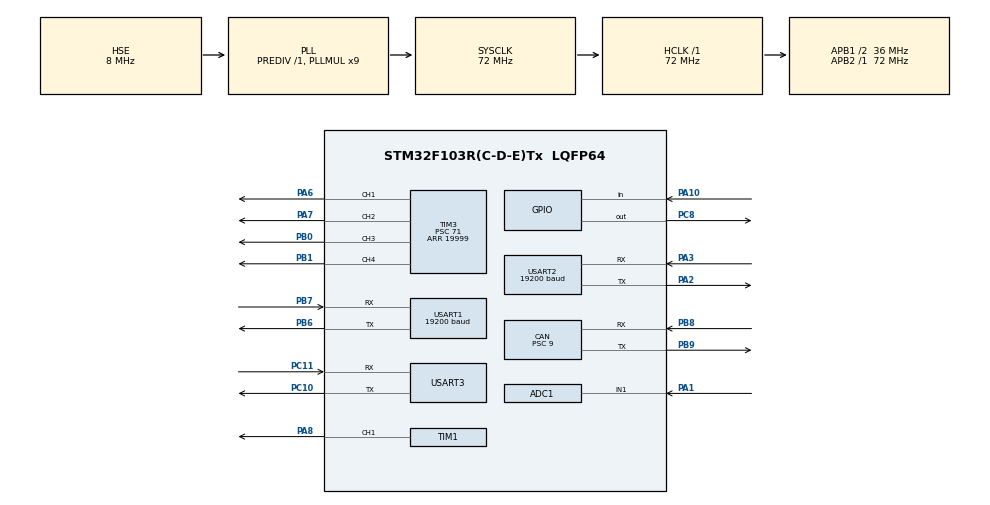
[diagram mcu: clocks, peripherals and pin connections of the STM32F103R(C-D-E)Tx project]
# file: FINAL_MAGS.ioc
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ADC1.Channel-0\#ChannelRegularConversion=ADC_CHANNEL_1
ADC1.ContinuousConvMode=DISABLE
ADC1.DataAlign=ADC_DATAALIGN_RIGHT
ADC1.DiscontinuousConvMode=DISABLE
ADC1.EnableAnalogWatchDog=false
ADC1.EnableRegularConversion=ENABLE
ADC1.ExternalTrigConv=ADC_SOFTWARE_START
ADC1.InjNumberOfConversion=0
ADC1.NbrOfConversion=1
ADC1.NbrOfConversionFlag=1
ADC1.Rank-0\#ChannelRegularConversion=1
ADC1.SamplingTime-0\#ChannelRegularConversion=ADC_SAMPLETIME_239CYCLES_5
ADC1.ScanConvMode=ADC_SCAN_DISABLE
ADC1.master=1
CAN.BS1=CAN_BS1_6TQ
CAN.CalculateTimeBit=750
CAN.CalculateTimeQuantum=250.0
CAN.Prescaler=9
Mcu.Family=STM32F1
Mcu.Name=STM32F103R(C-D-E)Tx
Mcu.Package=LQFP64
NVIC.PriorityGroup=NVIC_PRIORITYGROUP_4
NVIC.TIM7_IRQn=true\:0\:0\:false\:false\:true\:true
NVIC.USART1_IRQn=true\:0\:0\:false\:false\:true\:true
NVIC.USART2_IRQn=true\:0\:0\:false\:false\:true\:true
NVIC.USB_HP_CAN1_TX_IRQn=true\:0\:0\:false\:false\:true\:true
NVIC.USB_LP_CAN1_RX0_IRQn=true\:0\:0\:false\:false\:true\:true
PA1.Signal=ADCx_IN1
PA10.GPIO_PuPd=GPIO_PULLDOWN
PA10.Signal=GPIO_Input
PA2.Mode=Asynchronous
PA2.Signal=USART2_TX
PA3.Mode=Asynchronous
PA3.Signal=USART2_RX
PA6.Signal=S_TIM3_CH1
PA7.Signal=S_TIM3_CH2
PA8.Signal=S_TIM1_CH1
PB0.Signal=S_TIM3_CH3
PB1.Signal=S_TIM3_CH4
PB6.Mode=Asynchronous
PB6.Signal=USART1_TX
PB7.Mode=Asynchronous
PB7.Signal=USART1_RX
PB8.Mode=Master
PB8.Signal=CAN_RX
PB9.Mode=Master
PB9.Signal=CAN_TX
PC10.Mode=Asynchronous
PC10.Signal=USART3_TX
PC11.Mode=Asynchronous
PC11.Signal=USART3_RX
PC8.Signal=GPIO_Output
PD0-OSC_IN.Mode=HSE-External-Oscillator
PD0-OSC_IN.Signal=RCC_OSC_IN
PD1-OSC_OUT.Mode=HSE-External-Oscillator
PD1-OSC_OUT.Signal=RCC_OSC_OUT
ProjectManager.HeapSize=0x200
ProjectManager.StackSize=0x400
ProjectManager.TargetToolchain=EWARM
RCC.ADCPresc=RCC_ADCPCLK2_DIV6
RCC.AHBFreq_Value=72000000
RCC.APB1CLKDivider=RCC_HCLK_DIV2
RCC.APB1Freq_Value=36000000
RCC.APB1TimFreq_Value=72000000
RCC.APB2Freq_Value=72000000
RCC.APB2TimFreq_Value=72000000
RCC.HCLKFreq_Value=72000000
RCC.PLLMUL=RCC_PLL_MUL9
RCC.PLLSourceVirtual=RCC_PLLSOURCE_HSE
RCC.SYSCLKFreq_VALUE=72000000
RCC.SYSCLKSource=RCC_SYSCLKSOURCE_PLLCLK
RCC.USBFreq_Value=72000000
SH.ADCx_IN1.0=ADC1_IN1,IN1
SH.S_TIM1_CH1.0=TIM1_CH1,PWM Generation1 CH1
SH.S_TIM3_CH1.0=TIM3_CH1,PWM Generation1 CH1
SH.S_TIM3_CH2.0=TIM3_CH2,PWM Generation2 CH2
SH.S_TIM3_CH3.0=TIM3_CH3,PWM Generation3 CH3
SH.S_TIM3_CH4.0=TIM3_CH4,PWM Generation4 CH4
TIM1.Channel-PWM\ Generation1\ CH1=TIM_CHANNEL_1
TIM1.Period=19999
TIM1.Prescaler=71
TIM3.Channel-PWM\ Generation1\ CH1=TIM_CHANNEL_1
TIM3.Channel-PWM\ Generation2\ CH2=TIM_CHANNEL_2
TIM3.Channel-PWM\ Generation3\ CH3=TIM_CHANNEL_3
TIM3.Channel-PWM\ Generation4\ CH4=TIM_CHANNEL_4
TIM3.Period=19999
TIM3.Prescaler=71
TIM7.Period=9999
TIM7.Prescaler=7199
USART1.BaudRate=19200
USART1.VirtualMode=VM_ASYNC
USART2.BaudRate=19200
USART2.VirtualMode=VM_ASYNC
USART3.VirtualMode=VM_ASYNC
VP_SYS_VS_ND.Mode=No_Debug
VP_TIM1_VS_ClockSourceINT.Mode=Internal
VP_TIM3_VS_ClockSourceINT.Mode=Internal
VP_TIM7_VS_ClockSourceINT.Mode=Enable_Timer
board=custom

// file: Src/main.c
/**
  ******************************************************************************
  * @file           : main.c
  * @brief          : Main program body
  ******************************************************************************
  ** This notice applies to any and all portions of this file
  * that are not between comment pairs USER CODE BEGIN and
  * USER CODE END. Other portions of this file, whether
  * inserted by the user or by software development tools
  * are owned by their respective copyright owners.
  *
  * COPYRIGHT(c) 2018 STMicroelectronics
  *
  * Redistribution and use in source and binary forms, with or without modification,
  * are permitted provided that the following conditions are met:
  *   1. Redistributions of source code must retain the above copyright notice,
  *      this list of conditions and the following disclaimer.
  *   2. Redistributions in binary form must reproduce the above copyright notice,
  *      this list of conditions and the following disclaimer in the documentation
  *      and/or other materials provided with the distribution.
  *   3. Neither the name of STMicroelectronics nor the names of its contributors
  *      may be used to endorse or promote products derived from this software
  *      without specific prior written permission.
  *
  * THIS SOFTWARE IS PROVIDED BY THE COPYRIGHT HOLDERS AND CONTRIBUTORS "AS IS"
  * AND ANY EXPRESS OR IMPLIED WARRANTIES, INCLUDING, BUT NOT LIMITED TO, THE
  * IMPLIED WARRANTIES OF MERCHANTABILITY AND FITNESS FOR A PARTICULAR PURPOSE ARE
  * DISCLAIMED. IN NO EVENT SHALL THE COPYRIGHT HOLDER OR CONTRIBUTORS BE LIABLE
  * FOR ANY DIRECT, INDIRECT, INCIDENTAL, SPECIAL, EXEMPLARY, OR CONSEQUENTIAL
  * DAMAGES (INCLUDING, BUT NOT LIMITED TO, PROCUREMENT OF SUBSTITUTE GOODS OR
  * SERVICES; LOSS OF USE, DATA, OR PROFITS; OR BUSINESS INTERRUPTION) HOWEVER
  * CAUSED AND ON ANY THEORY OF LIABILITY, WHETHER IN CONTRACT, STRICT LIABILITY,
  * OR TORT (INCLUDING NEGLIGENCE OR OTHERWISE) ARISING IN ANY WAY OUT OF THE USE
  * OF THIS SOFTWARE, EVEN IF ADVISED OF THE POSSIBILITY OF SUCH DAMAGE.
  *
  ******************************************************************************
  */
#include "main.h"
#include "stm32f1xx_hal.h"

/* USER CODE BEGIN Includes */
#include "total.h"
#include <string.h>
#include <stdio.h>
#include <stdlib.h>
#include <math.h>
#define PI 3.141592
/* USER CODE END Includes */

ADC_HandleTypeDef hadc1;

CAN_HandleTypeDef hcan;

TIM_HandleTypeDef htim1;
TIM_HandleTypeDef htim3;
TIM_HandleTypeDef htim7;

UART_HandleTypeDef huart1;
UART_HandleTypeDef huart2;
UART_HandleTypeDef huart3;

/* USER CODE BEGIN PV */
/* Private variables ---------------------------------------------------------*/
//store uart1 rf received value
uint8_t buffer[1];
//In timer interrupt variation to update NOW latitude,longtitude
int tim_sec,servo=1500,bat_value;
//GPS_Auto_sailing variation
double Al,Dl,Aa,Da,yaw_1;

extern int G_dir,M_spd,M_dir,stop_flag,flag_4,flag_5,flag_6;
//GPS_Auto_sailing GPS arrive location
double Dlatitude,Dlongtitude;
//GPS_BUF
extern uint8_t BUF[500];

uint8_t DGPS[19];
uint8_t Dlat[9];
uint8_t Dlong[10];
uint8_t DLAT[9];
uint8_t DLONG[10];
/* USER CODE END PV */

void SystemClock_Config(void);
static void MX_GPIO_Init(void);
static void MX_USART1_UART_Init(void);
static void MX_USART2_UART_Init(void);
static void MX_ADC1_Init(void);
static void MX_TIM3_Init(void);
static void MX_TIM1_Init(void);
static void MX_USART3_UART_Init(void);
static void MX_CAN_Init(void);
static void MX_TIM7_Init(void);

void HAL_TIM_MspPostInit(TIM_HandleTypeDef *htim);

/* USER CODE BEGIN PFP */
/* Private function prototypes -----------------------------------------------*/

/* USER CODE END PFP */

/* USER CODE BEGIN 0 */
int fputc(int ch, FILE *f)
{
    uint8_t temp[1]={ch};

    HAL_UART_Transmit(&huart1, temp, 1, 1000);

  return(ch);
}

void reset_state()
{
        //moter speed step1
        TIM3->CCR3=1575;
        HAL_Delay(10);
        //moter servo center
        TIM3->CCR1=servo;
        HAL_Delay(10);
        //gimbal direction center
        TIM1->CCR1=1500;
        HAL_Delay(10);
        //direction , speed value reset
        G_dir=4;
        M_spd=2;
        M_dir=5;
	servo=1500;
}

void HAL_TIM_PeriodElapsedCallback(TIM_HandleTypeDef *htim)
{
    if(htim->Instance==TIM7)
    {
        if(flag_4==1)
          tim_sec++;

        bat_value++;
        if(bat_value>60)
        {
             bat_value=0;
             Bat_check(&hadc1);
        }
    }
}

/* USER CODE END 0 */

int main(void)
{
  /* USER CODE BEGIN 1 */
  double p_gain=0.3;
  /* USER CODE END 1 */

  /* MCU Configuration----------------------------------------------------------*/

  /* Reset of all peripherals, Initializes the Flash interface and the Systick. */
  HAL_Init();

  /* Configure the system clock */
  SystemClock_Config();

  /* Initialize all configured peripherals */
  MX_GPIO_Init();
  MX_USART1_UART_Init();
  MX_USART2_UART_Init();
  MX_ADC1_Init();
  MX_TIM3_Init();
  MX_TIM1_Init();
  MX_USART3_UART_Init();
  MX_CAN_Init();
  MX_TIM7_Init();
  /* USER CODE BEGIN 2 */
  HAL_TIM_PWM_Start(&htim3,TIM_CHANNEL_3);      //main moter pwm start_TIM3_CH3
  HAL_TIM_PWM_Start(&htim3,TIM_CHANNEL_2);      //water moter pwm start_TIM3_CH2
  HAL_TIM_PWM_Start(&htim3,TIM_CHANNEL_1);      //main servo pwm start_TIM3_CH1
  HAL_TIM_PWM_Start(&htim1,TIM_CHANNEL_1);      //gimbal servo pwm start_TIM1_CH1
  HAL_TIM_Base_Start_IT(&htim7);                //tim intrrupt start
  uint8_t p_gain_cont[7]={0,};
  /* USER CODE END 2 */

  /* Infinite loop */
  /* USER CODE BEGIN WHILE */
  while (1)
  {
    HAL_UART_Receive_IT(&huart1,buffer, 1);
    water_mot_con(GPIOA, GPIO_PIN_10);
    receive_gps(&huart2);
//    if((HAL_UART_Receive(&huart2,tmp,19, 500)==HAL_OK))
//    {
//      for(int i=0;i<19;i++)
//      {
//        if(i==2||i==12)
//          tmp[i]=tmp[i];
//        else
//        tmp[i] = tmp[i]-48;
//      }
//        Da=tmp[0]*10 + tmp[1] + tmp[3]*0.1 + tmp[4]*0.01 + tmp[5]*0.001 + tmp[6]*0.0001 + tmp[7]*0.00001 + tmp[8]*0.000001;
//        Dl=tmp[9]*100 + tmp[10]*10 + tmp[11] + tmp[13]*0.1 + tmp[14]*0.01 + tmp[15]*0.001 + tmp[16]*0.0001+ tmp[17]*0.00001 + tmp[18]*0.000001;
//        printf("g%lf%lf",Da,Dl);
//
//       for(int i=0;i<19;i++)
//      {
//        tmp[i] = 0;
//      }
//    }

    double SD = Yaw_Parse(&huart1,&huart3);

    //update p_gian if press p button, then flag_6=1
    if(flag_6==1)
    {
        int tmp[7]={0,};
        while(1)
        {
                if((HAL_UART_Receive(&huart1,p_gain_cont, 7, 100000)==HAL_OK))
                {
                    for(int i=0; i<7; i++)
                    {
                      if(i==1)
                        tmp[i]=tmp[i];
                      else
                        tmp[i]=p_gain_cont[i]-48;
                    }
                    p_gain=tmp[0]+tmp[2]*0.1+tmp[3]*0.01+tmp[4]*0.001+tmp[5]*0.0001+tmp[6]*0.00001;
                    flag_6=0;
                    printf("%lf",p_gain);
                    break;
                }
        }
    }
    //receive arrive gps location and start gps chashing
    if(flag_4==1)
      {
        double A_ang,D_ang;
        double error;
        while(1)
        {
                if((HAL_UART_Receive(&huart1, DGPS, 19, 100000)==HAL_OK))
                {
                    for(int i=0;i<9;i++)
                    {
                      Dlat[i] = DGPS[i];
                      DLAT[i] = Dlat[i]-48;
                    }
                    for(int i=0;i<10;i++)
                    {
                      Dlong[i] = DGPS[9+i];
                      DLONG[i] = Dlong[i]-48;
                    }
                      Dlatitude = DLAT[0]*10 + DLAT[1] + DLAT[3]*0.1 + DLAT[4]*0.01 + DLAT[5]*0.001 + DLAT[6]*0.0001 + DLAT[7]*0.00001 + DLAT[8]*0.000001;
                      Dlongtitude = DLONG[0]*100 + DLONG[1]*10 + DLONG[2] + DLONG[4]*0.1 + DLONG[5]*0.01 + DLONG[6]*0.001 + DLONG[7]*0.0001+ DLONG[8]*0.00001 + DLONG[9]*0.000001;
                      break;
                }
        }
            while(1)
            {
              TIM3->CCR3=1550;
              receive_gps(&huart2);
                Al=Dlongtitude;
                Aa=Dlatitude;
                A_ang=atan2(Al-Dl,Aa-Da)*(double)(180/PI);
                reset_state();
                flag_5=1;

                while(1)
                {
                    HAL_UART_Receive_IT(&huart1,buffer, 1);

                    receive_gps(&huart2);

                    ///이상함
                    if(tim_sec>=3)
                    {
                      A_ang=atan2(Al-Dl,Aa-Da)*(double)(180/PI);
                      tim_sec=0;
                    }

                    D_ang=Yaw_Parse(&huart1,&huart3);
                    error=A_ang-D_ang;
                    error=error*p_gain;
                    //Convert to Min Angle
                    if(error<=-180)
                        error+=360;
                    else if(error>180)
                        error-=360;
                    //servo timer value must integer
                    servo=(int)(servo+10*error);
                    //limit servo degree value
                    if(servo>=1990)
                    {
                        servo=1990;
                        TIM3->CCR1=1990;
                    }
                    else if(servo<=1010)
                    {
                        servo=1010;
                        TIM3->CCR1=1010;
                    }
                    else
                        TIM3->CCR1=servo;
                    //distance a from d
                    if(((fabs(Al-Dl)<=0.0001)&&(fabs(Aa-Da)<=0.0001))||(stop_flag!=0))//오차값 정하고 1대신 넣기
                    {
                        break;
                    }
                }
                flag_5=0;
                reset_state();
                stop_flag=0;
                flag_4=0;
                break;
            }
  /* USER CODE END WHILE */

  }
  }

}

void SystemClock_Config(void)
{

  RCC_OscInitTypeDef RCC_OscInitStruct;
  RCC_ClkInitTypeDef RCC_ClkInitStruct;
  RCC_PeriphCLKInitTypeDef PeriphClkInit;

    /**Initializes the CPU, AHB and APB busses clocks
    */
  RCC_OscInitStruct.OscillatorType = RCC_OSCILLATORTYPE_HSE;
  RCC_OscInitStruct.HSEState = RCC_HSE_ON;
  RCC_OscInitStruct.HSEPredivValue = RCC_HSE_PREDIV_DIV1;
  RCC_OscInitStruct.HSIState = RCC_HSI_ON;
  RCC_OscInitStruct.PLL.PLLState = RCC_PLL_ON;
  RCC_OscInitStruct.PLL.PLLSource = RCC_PLLSOURCE_HSE;
  RCC_OscInitStruct.PLL.PLLMUL = RCC_PLL_MUL9;
  if (HAL_RCC_OscConfig(&RCC_OscInitStruct) != HAL_OK)
  {
    _Error_Handler(__FILE__, __LINE__);
  }

    /**Initializes the CPU, AHB and APB busses clocks
    */
  RCC_ClkInitStruct.ClockType = RCC_CLOCKTYPE_HCLK|RCC_CLOCKTYPE_SYSCLK
                              |RCC_CLOCKTYPE_PCLK1|RCC_CLOCKTYPE_PCLK2;
  RCC_ClkInitStruct.SYSCLKSource = RCC_SYSCLKSOURCE_PLLCLK;
  RCC_ClkInitStruct.AHBCLKDivider = RCC_SYSCLK_DIV1;
  RCC_ClkInitStruct.APB1CLKDivider = RCC_HCLK_DIV2;
  RCC_ClkInitStruct.APB2CLKDivider = RCC_HCLK_DIV1;

  if (HAL_RCC_ClockConfig(&RCC_ClkInitStruct, FLASH_LATENCY_2) != HAL_OK)
  {
    _Error_Handler(__FILE__, __LINE__);
  }

  PeriphClkInit.PeriphClockSelection = RCC_PERIPHCLK_ADC;
  PeriphClkInit.AdcClockSelection = RCC_ADCPCLK2_DIV6;
  if (HAL_RCCEx_PeriphCLKConfig(&PeriphClkInit) != HAL_OK)
  {
    _Error_Handler(__FILE__, __LINE__);
  }

    /**Configure the Systick interrupt time
    */
  HAL_SYSTICK_Config(HAL_RCC_GetHCLKFreq()/1000);

    /**Configure the Systick
    */
  HAL_SYSTICK_CLKSourceConfig(SYSTICK_CLKSOURCE_HCLK);

  /* SysTick_IRQn interrupt configuration */
  HAL_NVIC_SetPriority(SysTick_IRQn, 0, 0);
}

/* ADC1 init function */
static void MX_ADC1_Init(void)
{

  ADC_ChannelConfTypeDef sConfig;

    /**Common config
    */
  hadc1.Instance = ADC1;
  hadc1.Init.ScanConvMode = ADC_SCAN_DISABLE;
  hadc1.Init.ContinuousConvMode = DISABLE;
  hadc1.Init.DiscontinuousConvMode = DISABLE;
  hadc1.Init.ExternalTrigConv = ADC_SOFTWARE_START;
  hadc1.Init.DataAlign = ADC_DATAALIGN_RIGHT;
  hadc1.Init.NbrOfConversion = 1;
  if (HAL_ADC_Init(&hadc1) != HAL_OK)
  {
    _Error_Handler(__FILE__, __LINE__);
  }

    /**Configure Regular Channel
    */
  sConfig.Channel = ADC_CHANNEL_1;
  sConfig.Rank = ADC_REGULAR_RANK_1;
  sConfig.SamplingTime = ADC_SAMPLETIME_239CYCLES_5;
  if (HAL_ADC_ConfigChannel(&hadc1, &sConfig) != HAL_OK)
  {
    _Error_Handler(__FILE__, __LINE__);
  }

}

/* CAN init function */
static void MX_CAN_Init(void)
{

  hcan.Instance = CAN1;
  hcan.Init.Prescaler = 9;
  hcan.Init.Mode = CAN_MODE_NORMAL;
  hcan.Init.SJW = CAN_SJW_1TQ;
  hcan.Init.BS1 = CAN_BS1_6TQ;
  hcan.Init.BS2 = CAN_BS2_1TQ;
  hcan.Init.TTCM = DISABLE;
  hcan.Init.ABOM = DISABLE;
  hcan.Init.AWUM = DISABLE;
  hcan.Init.NART = DISABLE;
  hcan.Init.RFLM = DISABLE;
  hcan.Init.TXFP = DISABLE;
  if (HAL_CAN_Init(&hcan) != HAL_OK)
  {
    _Error_Handler(__FILE__, __LINE__);
  }

}

/* TIM1 init function */
static void MX_TIM1_Init(void)
{

  TIM_ClockConfigTypeDef sClockSourceConfig;
  TIM_MasterConfigTypeDef sMasterConfig;
  TIM_OC_InitTypeDef sConfigOC;
  TIM_BreakDeadTimeConfigTypeDef sBreakDeadTimeConfig;

  htim1.Instance = TIM1;
  htim1.Init.Prescaler = 71;
  htim1.Init.CounterMode = TIM_COUNTERMODE_UP;
  htim1.Init.Period = 19999;
  htim1.Init.ClockDivision = TIM_CLOCKDIVISION_DIV1;
  htim1.Init.RepetitionCounter = 0;
  htim1.Init.AutoReloadPreload = TIM_AUTORELOAD_PRELOAD_DISABLE;
  if (HAL_TIM_Base_Init(&htim1) != HAL_OK)
  {
    _Error_Handler(__FILE__, __LINE__);
  }

  sClockSourceConfig.ClockSource = TIM_CLOCKSOURCE_INTERNAL;
  if (HAL_TIM_ConfigClockSource(&htim1, &sClockSourceConfig) != HAL_OK)
  {
    _Error_Handler(__FILE__, __LINE__);
  }

  if (HAL_TIM_PWM_Init(&htim1) != HAL_OK)
  {
    _Error_Handler(__FILE__, __LINE__);
  }

  sMasterConfig.MasterOutputTrigger = TIM_TRGO_RESET;
  sMasterConfig.MasterSlaveMode = TIM_MASTERSLAVEMODE_DISABLE;
  if (HAL_TIMEx_MasterConfigSynchronization(&htim1, &sMasterConfig) != HAL_OK)
  {
    _Error_Handler(__FILE__, __LINE__);
  }

  sConfigOC.OCMode = TIM_OCMODE_PWM1;
  sConfigOC.Pulse = 0;
  sConfigOC.OCPolarity = TIM_OCPOLARITY_HIGH;
  sConfigOC.OCNPolarity = TIM_OCNPOLARITY_HIGH;
  sConfigOC.OCFastMode = TIM_OCFAST_DISABLE;
  sConfigOC.OCIdleState = TIM_OCIDLESTATE_RESET;
  sConfigOC.OCNIdleState = TIM_OCNIDLESTATE_RESET;
  if (HAL_TIM_PWM_ConfigChannel(&htim1, &sConfigOC, TIM_CHANNEL_1) != HAL_OK)
  {
    _Error_Handler(__FILE__, __LINE__);
  }

  sBreakDeadTimeConfig.OffStateRunMode = TIM_OSSR_DISABLE;
  sBreakDeadTimeConfig.OffStateIDLEMode = TIM_OSSI_DISABLE;
  sBreakDeadTimeConfig.LockLevel = TIM_LOCKLEVEL_OFF;
  sBreakDeadTimeConfig.DeadTime = 0;
  sBreakDeadTimeConfig.BreakState = TIM_BREAK_DISABLE;
  sBreakDeadTimeConfig.BreakPolarity = TIM_BREAKPOLARITY_HIGH;
  sBreakDeadTimeConfig.AutomaticOutput = TIM_AUTOMATICOUTPUT_DISABLE;
  if (HAL_TIMEx_ConfigBreakDeadTime(&htim1, &sBreakDeadTimeConfig) != HAL_OK)
  {
    _Error_Handler(__FILE__, __LINE__);
  }

  HAL_TIM_MspPostInit(&htim1);

}

/* TIM3 init function */
static void MX_TIM3_Init(void)
{

  TIM_ClockConfigTypeDef sClockSourceConfig;
  TIM_MasterConfigTypeDef sMasterConfig;
  TIM_OC_InitTypeDef sConfigOC;

  htim3.Instance = TIM3;
  htim3.Init.Prescaler = 71;
  htim3.Init.CounterMode = TIM_COUNTERMODE_UP;
  htim3.Init.Period = 19999;
  htim3.Init.ClockDivision = TIM_CLOCKDIVISION_DIV1;
  htim3.Init.AutoReloadPreload = TIM_AUTORELOAD_PRELOAD_DISABLE;
  if (HAL_TIM_Base_Init(&htim3) != HAL_OK)
  {
    _Error_Handler(__FILE__, __LINE__);
  }

  sClockSourceConfig.ClockSource = TIM_CLOCKSOURCE_INTERNAL;
  if (HAL_TIM_ConfigClockSource(&htim3, &sClockSourceConfig) != HAL_OK)
  {
    _Error_Handler(__FILE__, __LINE__);
  }

  if (HAL_TIM_PWM_Init(&htim3) != HAL_OK)
  {
    _Error_Handler(__FILE__, __LINE__);
  }

  sMasterConfig.MasterOutputTrigger = TIM_TRGO_RESET;
  sMasterConfig.MasterSlaveMode = TIM_MASTERSLAVEMODE_DISABLE;
  if (HAL_TIMEx_MasterConfigSynchronization(&htim3, &sMasterConfig) != HAL_OK)
  {
    _Error_Handler(__FILE__, __LINE__);
  }

  sConfigOC.OCMode = TIM_OCMODE_PWM1;
  sConfigOC.Pulse = 0;
  sConfigOC.OCPolarity = TIM_OCPOLARITY_HIGH;
  sConfigOC.OCFastMode = TIM_OCFAST_DISABLE;
  if (HAL_TIM_PWM_ConfigChannel(&htim3, &sConfigOC, TIM_CHANNEL_1) != HAL_OK)
  {
    _Error_Handler(__FILE__, __LINE__);
  }

  if (HAL_TIM_PWM_ConfigChannel(&htim3, &sConfigOC, TIM_CHANNEL_2) != HAL_OK)
  {
    _Error_Handler(__FILE__, __LINE__);
  }

  if (HAL_TIM_PWM_ConfigChannel(&htim3, &sConfigOC, TIM_CHANNEL_3) != HAL_OK)
  {
    _Error_Handler(__FILE__, __LINE__);
  }

  if (HAL_TIM_PWM_ConfigChannel(&htim3, &sConfigOC, TIM_CHANNEL_4) != HAL_OK)
  {
    _Error_Handler(__FILE__, __LINE__);
  }

  HAL_TIM_MspPostInit(&htim3);

}

/* TIM7 init function */
static void MX_TIM7_Init(void)
{

  TIM_MasterConfigTypeDef sMasterConfig;

  htim7.Instance = TIM7;
  htim7.Init.Prescaler = 7199;
  htim7.Init.CounterMode = TIM_COUNTERMODE_UP;
  htim7.Init.Period = 9999;
  htim7.Init.AutoReloadPreload = TIM_AUTORELOAD_PRELOAD_DISABLE;
  if (HAL_TIM_Base_Init(&htim7) != HAL_OK)
  {
    _Error_Handler(__FILE__, __LINE__);
  }

  sMasterConfig.MasterOutputTrigger = TIM_TRGO_RESET;
  sMasterConfig.MasterSlaveMode = TIM_MASTERSLAVEMODE_DISABLE;
  if (HAL_TIMEx_MasterConfigSynchronization(&htim7, &sMasterConfig) != HAL_OK)
  {
    _Error_Handler(__FILE__, __LINE__);
  }

}

/* USART1 init function */
static void MX_USART1_UART_Init(void)
{

  huart1.Instance = USART1;
  huart1.Init.BaudRate = 19200;
  huart1.Init.WordLength = UART_WORDLENGTH_8B;
  huart1.Init.StopBits = UART_STOPBITS_1;
  huart1.Init.Parity = UART_PARITY_NONE;
  huart1.Init.Mode = UART_MODE_TX_RX;
  huart1.Init.HwFlowCtl = UART_HWCONTROL_NONE;
  huart1.Init.OverSampling = UART_OVERSAMPLING_16;
  if (HAL_UART_Init(&huart1) != HAL_OK)
  {
    _Error_Handler(__FILE__, __LINE__);
  }

}

/* USART2 init function */
static void MX_USART2_UART_Init(void)
{

  huart2.Instance = USART2;
  huart2.Init.BaudRate = 19200;
  huart2.Init.WordLength = UART_WORDLENGTH_8B;
  huart2.Init.StopBits = UART_STOPBITS_1;
  huart2.Init.Parity = UART_PARITY_NONE;
  huart2.Init.Mode = UART_MODE_TX_RX;
  huart2.Init.HwFlowCtl = UART_HWCONTROL_NONE;
  huart2.Init.OverSampling = UART_OVERSAMPLING_16;
  if (HAL_UART_Init(&huart2) != HAL_OK)
  {
    _Error_Handler(__FILE__, __LINE__);
  }

}

/* USART3 init function */
static void MX_USART3_UART_Init(void)
{

  huart3.Instance = USART3;
  huart3.Init.BaudRate = 115200;
  huart3.Init.WordLength = UART_WORDLENGTH_8B;
  huart3.Init.StopBits = UART_STOPBITS_1;
  huart3.Init.Parity = UART_PARITY_NONE;
  huart3.Init.Mode = UART_MODE_TX_RX;
  huart3.Init.HwFlowCtl = UART_HWCONTROL_NONE;
  huart3.Init.OverSampling = UART_OVERSAMPLING_16;
  if (HAL_UART_Init(&huart3) != HAL_OK)
  {
    _Error_Handler(__FILE__, __LINE__);
  }

}

/** Configure pins as
        * Analog
        * Input
        * Output
        * EVENT_OUT
        * EXTI
*/
static void MX_GPIO_Init(void)
{

  GPIO_InitTypeDef GPIO_InitStruct;

  /* GPIO Ports Clock Enable */
  __HAL_RCC_GPIOD_CLK_ENABLE();
  __HAL_RCC_GPIOA_CLK_ENABLE();
  __HAL_RCC_GPIOB_CLK_ENABLE();
  __HAL_RCC_GPIOC_CLK_ENABLE();

  /*Configure GPIO pin Output Level */
  HAL_GPIO_WritePin(GPIOC, GPIO_PIN_8, GPIO_PIN_RESET);

  /*Configure GPIO pin : PC8 */
  GPIO_InitStruct.Pin = GPIO_PIN_8;
  GPIO_InitStruct.Mode = GPIO_MODE_OUTPUT_PP;
  GPIO_InitStruct.Pull = GPIO_NOPULL;
  GPIO_InitStruct.Speed = GPIO_SPEED_FREQ_LOW;
  HAL_GPIO_Init(GPIOC, &GPIO_InitStruct);

  /*Configure GPIO pin : PA10 */
  GPIO_InitStruct.Pin = GPIO_PIN_10;
  GPIO_InitStruct.Mode = GPIO_MODE_INPUT;
  GPIO_InitStruct.Pull = GPIO_PULLDOWN;
  HAL_GPIO_Init(GPIOA, &GPIO_InitStruct);

}

void _Error_Handler(char *file, int line)
{
  while(1)
  {
  }
}

/************************ (C) COPYRIGHT STMicroelectronics *****END OF FILE****/
